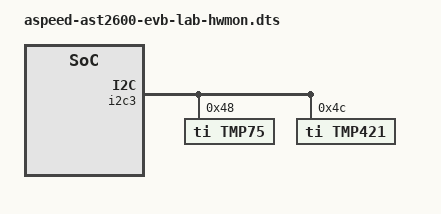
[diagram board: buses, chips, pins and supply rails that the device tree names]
/*
 * Lab 1-3: hwmon Temperature Sensor in Device Tree
 *
 * BMC architecture learning suitable for BIOS engineers:
 * The BMC needs to monitor various hardware statuses, including temperature. In Linux, hardware monitoring sensors
 * Handled by the hwmon (Hardware Monitoring) subsystem.
 * We define the sensor models and addresses in the Device Tree, and Linux will automatically load the corresponding drivers,
 * And creates a standardized interface under /sys/class/hwmon/ (like temp1_input).
 */

/dts-v1/;
/plugin/;

&i2c3 {
	status = "okay";

	/* 
	 * The first temperature sensor TMP75
	 * @0x48 is the I2C slave address
	 */
	tmp75@48 {
		/* TI TMP75 compatible driver (lm75 compatible) */
		compatible = "ti,tmp75";
		reg = <0x48>;
	};

	/* 
	 * The second temperature sensor TMP421
	 * Used as a control experiment
	 */
	tmp421@4c {
		compatible = "ti,tmp421";
		reg = <0x4c>;
	};
};
